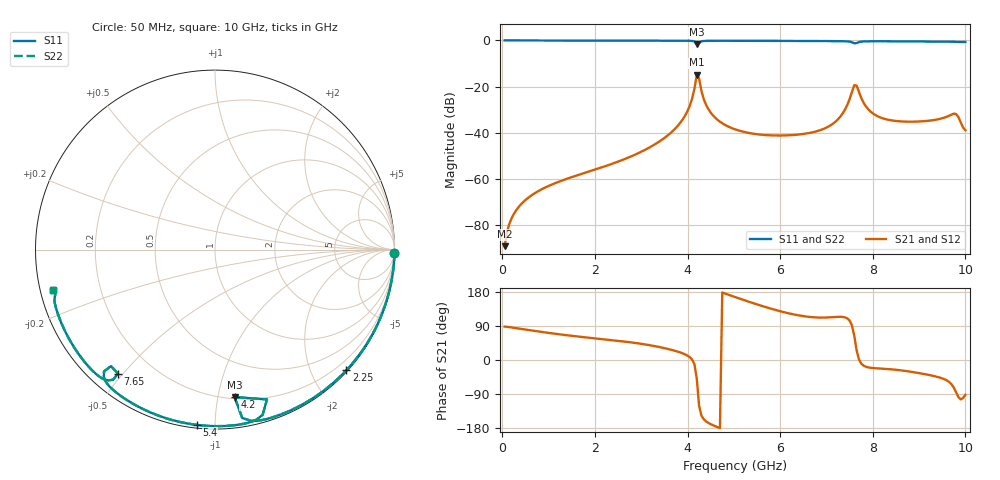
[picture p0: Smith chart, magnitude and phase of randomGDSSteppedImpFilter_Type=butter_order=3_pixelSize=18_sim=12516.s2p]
! freq	dB(S11)	phase(S11)	dB(S12)	phase(S12)
!  dB(S21)	phase(S21)	dB(S22)	phase(S22)
!S-par simulation data
#  GHz  S  DB  R 50
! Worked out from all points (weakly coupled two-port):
!   200 points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, 50 MHz to 10 GHz, reference 50 ohm
!   highest |S21| = -14.84 dB at 4.2 GHz (marker M1); lowest = -89.2 dB at 50 MHz (marker M2)
!   lowest |S11| = -1.6 dB at 4.2 GHz (marker M3), VSWR 10.69, Z = 10.7 - j55.9 ohm
!   |S11| at or under -10 dB: nowhere
!   |S22| runs from -1.6 to 0.0 dB; largest |S21 - S12| = 0
!   S11 on the Smith chart (normalised r, x): 50 MHz: open; 2.25 GHz: 0.02, -2.57; 4.2 GHz: 0.21, -1.12; 5.4 GHz: 0.02, -0.90; 7.65 GHz: 0.08, -0.48; 10 GHz: 0.04, -0.12
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0.05  -0.00 -1.0  -89.16 88.2  -89.16 88.2  -0.00 -1.0
0.65  -0.01 -12.5  -66.86 77.6  -66.86 77.6  -0.01 -12.5
1.75  -0.04 -33.3  -57.60 60.4  -57.60 60.4  -0.04 -33.3
2.25  -0.05 -42.6  -54.31 54.0  -54.31 54.0  -0.05 -42.6
3.4  -0.09 -63.4  -43.70 34.0  -43.70 34.0  -0.09 -63.4
3.95  -0.12 -73.9  -32.47 14.6  -32.47 14.6  -0.12 -73.9
4.1  -0.23 -78.2  -25.15 0.9  -25.15 0.9  -0.23 -78.2
4.2  -1.63 -82.4  -14.84 -49.5  -14.84 -49.5  -1.63 -82.4
4.25  -1.08 -70.9  -16.53 -121.1  -16.53 -121.1  -1.08 -70.9
4.35  -0.23 -76.2  -25.40 -156.4  -25.40 -156.4  -0.23 -76.1
4.5  -0.15 -80.1  -31.27 -169.3  -31.27 -169.3  -0.15 -80.1
5.05  -0.14 -90.1  -38.67 165.1  -38.67 165.1  -0.14 -90.1
5.4  -0.16 -95.9  -40.36 150.7  -40.36 150.7  -0.16 -95.9
6.7  -0.23 -116.6  -39.81 112.9  -39.81 112.9  -0.23 -116.6
7.25  -0.30 -125.6  -34.13 113.9  -34.13 113.9  -0.30 -125.6
7.6  -1.21 -131.8  -19.39 64.3  -19.39 64.3  -1.20 -131.7
7.65  -1.14 -128.1  -19.54 26.3  -19.54 26.3  -1.13 -128.1
7.9  -0.37 -132.9  -29.77 -19.4  -29.77 -19.4  -0.37 -132.9
8.35  -0.37 -140.5  -34.44 -24.1  -34.44 -24.1  -0.37 -140.5
9.15  -0.45 -153.1  -34.91 -37.9  -34.91 -37.9  -0.45 -153.1
9.75  -0.58 -163.0  -31.72 -72.8  -31.72 -72.8  -0.59 -163.0
10  -0.64 -166.0  -38.93 -91.8  -38.93 -91.8  -0.64 -166.0
